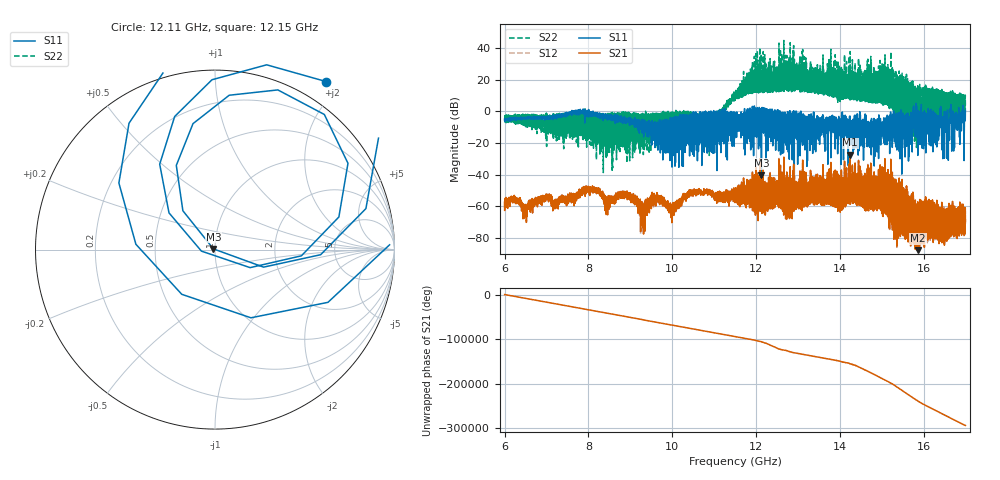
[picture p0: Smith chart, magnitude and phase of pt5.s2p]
#  HZ  S  RI  R  50.00
! Rohde & Schwarz Vector Network Analyzer
! Rohde-Schwarz,ZNA67-2Port,1332450062101215,3.01
! Created: UTC 10/15/2026, 12:22:27 PM
! freq[Hz]  re:S11  im:S11  re:S21  im:S21  re:S12  im:S12  re:S22  im:S22
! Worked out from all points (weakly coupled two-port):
!   11001 points, 6 GHz to 17 GHz, reference 50 ohm
!   highest |S21| = -27.35 dB at 14.25 GHz (marker M1); lowest = -87.7 dB at 15.87 GHz (marker M2)
!   lowest |S11| = -40.3 dB at 12.13 GHz (marker M3), VSWR 1.02, Z = 49.1 + j0.385 ohm
!   |S11| at or under -10 dB: 9.541626 GHz to 9.556652 GHz (15.03 MHz wide, 0.157 % of centre); 14.07891 GHz to 14.0931 GHz (14.2 MHz wide, 0.101 % of centre); 14.78628 GHz to 14.80124 GHz (14.96 MHz wide, 0.101 % of centre) (the widest 3 of 573)
!   |S22| runs from -38.6 to 44.9 dB; largest |S21 - S12| = 0.0024
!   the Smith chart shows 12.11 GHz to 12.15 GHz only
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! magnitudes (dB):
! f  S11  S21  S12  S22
! 6 GHz  -5.0  -57.3  -57.3  -5.8
! 6.207 GHz  -3.9  -55.2  -55.2  -4.8
! 6.49 GHz  -4.4  -62.1  -61.9  -8.1
! 7.834 GHz  -0.7  -49.9  -49.6  -4.2
! 8.215 GHz  -0.7  -49.3  -49.2  -13.7
! 8.457 GHz  -4.8  -60.0  -59.3  -2.4
! 8.917 GHz  -5.7  -51.3  -51.1  -12.5
! 9.3 GHz  -11.5  -63.7  -63.3  -19.0
! 9.667 GHz  -8.1  -55.7  -55.7  -2.3
! 9.992 GHz  -5.0  -70.3  -70.1  -2.9
! 10.43 GHz  -5.6  -52.1  -52.2  -0.5
! 10.85 GHz  -7.6  -52.5  -52.6  -4.2
! 11.5 GHz  -3.7  -53.5  -53.9  8.6
! 12.13 GHz  -40.3  -59.3  -58.9  14.7
! 12.53 GHz  0.2  -60.2  -59.7  12.3
! 12.81 GHz  -11.5  -66.6  -66.8  15.7
! 13.33 GHz  -14.4  -54.4  -54.4  15.7
! 14.25 GHz  -4.6  -27.3  -27.3  37.9
! 15.17 GHz  -12.9  -67.6  -66.6  5.2
! 15.87 GHz  -7.5  -87.7  -87.6  -21.6
! 16.57 GHz  0.7  -75.5  -75.5  -1.6
! 17 GHz  0.7  -70.4  -70.4  1.8
